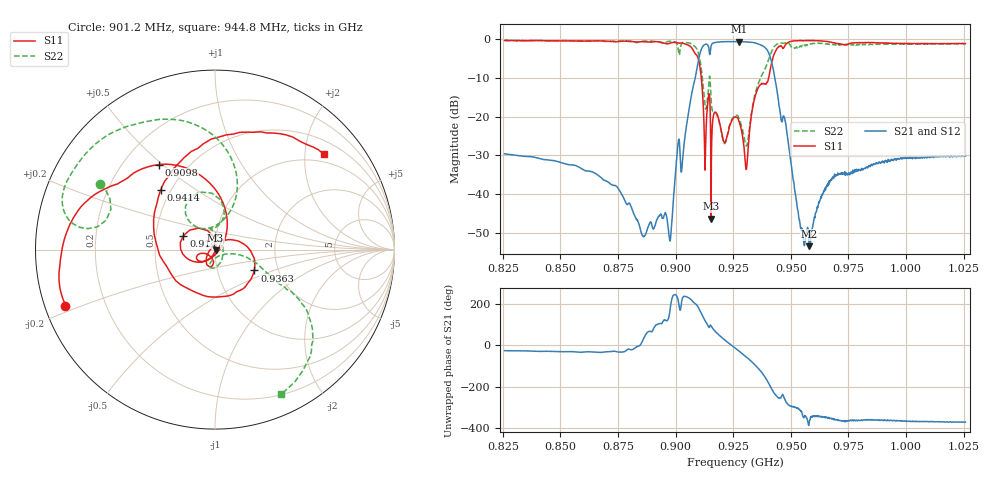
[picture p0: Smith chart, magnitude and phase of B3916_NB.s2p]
! Matrix data file written by TouchstoneData, EPCOS AG
! FILENAME: "B3916_NB.s2p"
! COMMENT: "NWA-Port1 : 98.0ps NWA-Port2 : 98.0ps PCB2031"
! INFO: nport=2, nfreq=1601
! DATE: "Wed Jul  4 2012"
! USER: "Hiroshi Tanaka"
! port | pin | signal
!  1  |  2  |  in
!  2  |  5  |  out
# MHZ S RI R 50
! freq  reS11 imS11  reS21 imS21  reS12 imS12  reS22 imS22
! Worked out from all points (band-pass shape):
!   1601 points, 825.8 MHz to 1.026 GHz, reference 50 ohm
!   highest |S21| = -0.62 dB at 927.4 MHz (marker M1); lowest = -53.5 dB at 958 MHz (marker M2)
!   |S21| within 3 dB of the highest: 910.6325 MHz to 914.7172 MHz (4.085 MHz wide, 0.448 % of centre); 915 MHz to 940.5 MHz (25.49 MHz wide, 2.75 % of centre)
!   lowest |S11| = -46.4 dB at 915.4 MHz (marker M3), VSWR 1.01, Z = 50.3 - j0.36 ohm
!   |S11| at or under -10 dB: 911.2 MHz to 940.4 MHz (29.21 MHz wide, 3.16 % of centre)
!   |S22| runs from -27.7 to -0.3 dB; largest |S21 - S12| = 0.00058
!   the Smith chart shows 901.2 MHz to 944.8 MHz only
!   S11 on the Smith chart (normalised r, x): 901.2 MHz: 0.06, -0.18; 909.8 MHz: 0.35, +0.49; 914.7 MHz: 0.69, +0.11; 936.3 MHz: 1.51, -0.37; 941.4 MHz: 0.44, +0.37; 944.8 MHz: 0.80, +2.43
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825.8  -0.1102 -0.9548  0.0296 -0.0146  0.0295 -0.0146  -0.7707 -0.5763
859.175  -0.2902 -0.8966  0.0176 -0.0119  0.0176 -0.0119  -0.847 -0.4238
892.55  -0.6867 -0.6203  -0.00112 0.00499  -0.00116 0.00493  -0.9243 -0.00316
897.675  -0.7387 -0.4974  -0.00252 9.98e-05  -0.00252 7.27e-05  -0.9249 0.1555
901.175  -0.8356 -0.314  -0.0391 -0.0271  -0.0392 -0.027  -0.6401 0.363
909.8  -0.3123 0.4741  -0.5106 -0.0406  -0.5107 -0.0406  -0.0642 0.6738
912.55  0.0392 0.0228  -0.4756 0.7027  -0.4756 0.7027  0.0385 0.1585
914.675  -0.1765 0.0779  0.05 0.6711  0.0498 0.6709  -0.1415 0.2879
915.425  0.00316 -0.00358  -0.0554 0.8161  -0.0554 0.8165  0.0402 0.1619
921.175  -0.0319 -0.0338  0.8278 0.4199  0.8283 0.4196  0.0441 0.00846
925.8  -0.0284 -0.0947  0.9027 -0.2137  0.9027 -0.2137  -0.00814 -0.1028
927.425  -0.0477 -0.0746  0.8281 -0.425  0.8281 -0.4251  -0.0295 -0.0919
930.8  -0.0123 0.017  0.4976 -0.7765  0.4976 -0.7767  0.0181 -0.0375
936.3  0.2195 -0.1163  -0.3887 -0.764  -0.3889 -0.7642  0.266 -0.1075
941.425  -0.3026 0.3334  -0.4938 0.232  -0.4936 0.232  0.5314 -0.3972
944.8  0.6067 0.531  -0.0358 0.1415  -0.0359 0.1414  0.3692 -0.8034
955.05  0.8503 -0.4319  0.00316 0.00131  0.00318 0.00129  -0.0587 -0.827
958.05  0.7799 -0.5574  0.00209 -0.000328  0.00207 -0.000363  -0.0978 -0.8495
959.175  0.7507 -0.5947  0.00322 0.000788  0.00321 0.000759  -0.1402 -0.8681
968.175  0.5131 -0.7435  0.016 0.001  0.0159 0.00101  -0.3108 -0.8022
992.55  0.3141 -0.8353  0.0271 -0.00182  0.027 -0.00186  -0.4428 -0.7417
1025.8  0.1819 -0.8599  0.0303 -0.00626  0.0302 -0.00626  -0.5342 -0.6977
